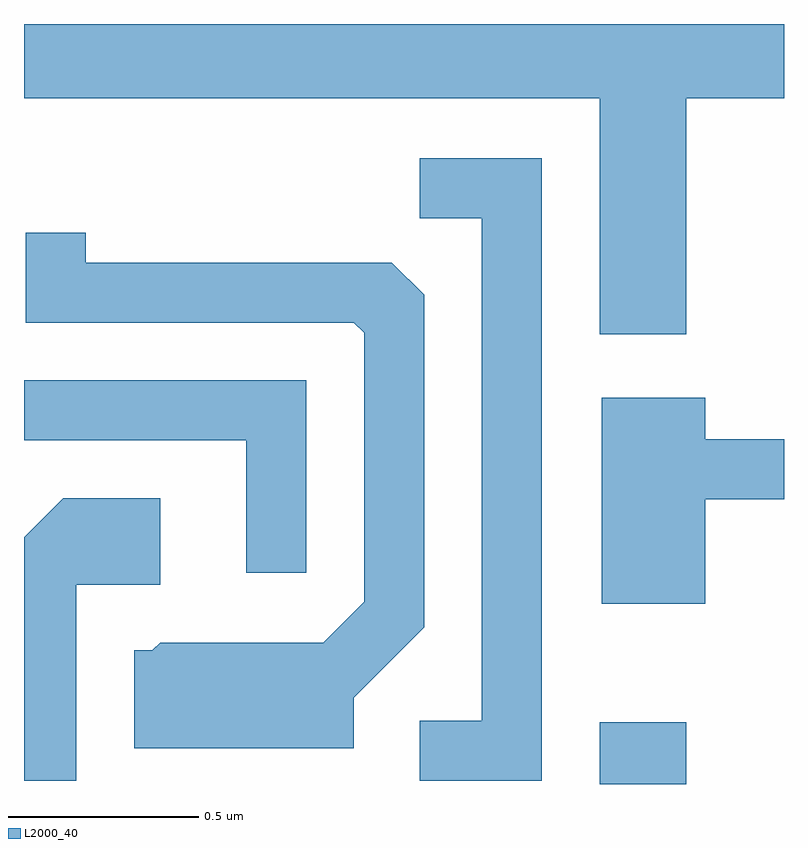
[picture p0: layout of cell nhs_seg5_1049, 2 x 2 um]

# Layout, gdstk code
import gdstk
lib = gdstk.Library(unit=1e-6, precision=1e-09)
def R(c, l, rs):  # rectangles x0, y0, x1, y1
    for r in rs: c.add(gdstk.rectangle(r[:2], r[2:], *l))
def P(c, l, *ps):  # polygons
    for p in ps: c.add(gdstk.Polygon(p, *l))
L2000_40 = (2000, 40)

nhs_seg5_1049 = lib.new_cell('nhs_seg5_1049')
R(nhs_seg5_1049, L2000_40, [(194.126,1486.072,194.354,1486.234)])
P(nhs_seg5_1049, L2000_40, [(194.354,1487.876),(194.611,1487.876),(194.611,1488.072),(192.611,1488.072),(192.611,1487.876),(194.126,1487.876),(194.126,1487.256),(194.354,1487.256)],
  [(193.974,1487.719),(193.653,1487.719),(193.653,1487.561),(193.816,1487.561),(193.816,1486.239),(193.653,1486.239),(193.653,1486.081),(193.974,1486.081)],
  [(193.479,1486.299),(193.664,1486.484),(193.664,1487.359),(193.579,1487.444),(192.774,1487.444),(192.774,1487.523),(192.616,1487.523),(192.616,1487.286),(193.479,1487.286),(193.506,1487.259),(193.506,1486.552),(193.399,1486.444),(192.969,1486.444),(192.949,1486.424),(192.901,1486.424),(192.901,1486.166),(193.479,1486.166)],
  [(193.354,1487.134),(192.611,1487.134),(192.611,1486.976),(193.196,1486.976),(193.196,1486.628),(193.354,1486.628)],
  [(194.404,1486.821),(194.611,1486.821),(194.611,1486.979),(194.404,1486.979),(194.404,1487.089),(194.131,1487.089),(194.131,1486.546),(194.404,1486.546)],
  [(192.749,1486.596),(192.969,1486.596),(192.969,1486.824),(192.714,1486.824),(192.611,1486.722),(192.611,1486.081),(192.749,1486.081)])

lib.write_gds('nhs_seg5_1049.gds')
